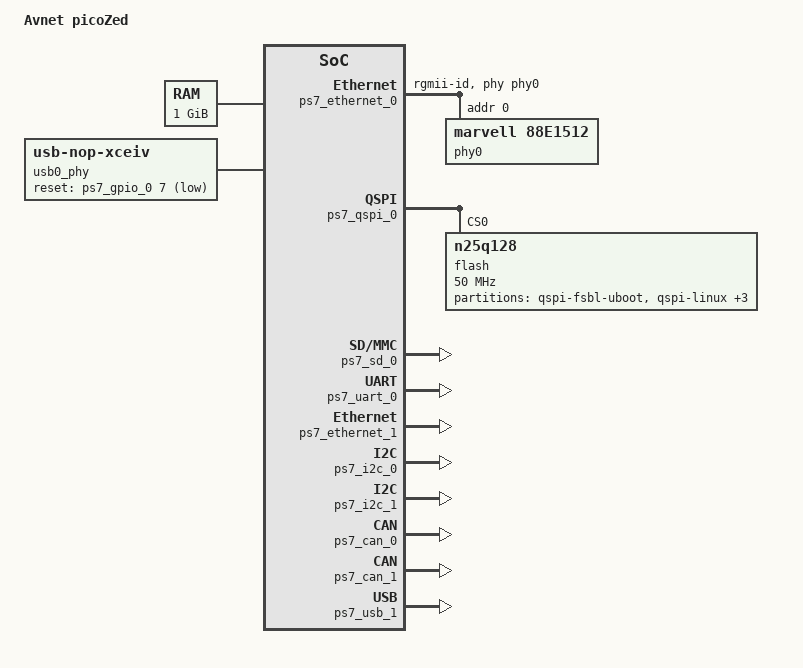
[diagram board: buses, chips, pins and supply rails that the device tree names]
/ {
	model = "Avnet picoZed";
	chosen {
		bootargs = "console=ttyPS0,115200 earlyprintk root=/dev/ram rw";
		linux,stdout-path = "/axi@0/serial@e0001000";
	} ;
	ps7_ddr_0: memory@0 {
		device_type = "memory";
		reg = <0x0 0x40000000>;
	} ;
	ps7_axi_interconnect_0: amba@0 {
		ps7_ethernet_0: ps7-ethernet@e000b000 {
			phy-handle = <&phy0>;
			phy-mode = "rgmii-id";
			phy0: phy@0 {
				compatible = "marvell,88e1512";
				device_type = "ethernet-phy";
				reg = <0>;
			} ;
		} ;
		ps7_qspi_0: ps7-qspi@e000d000 {
			flash@0 {
				compatible = "n25q128";
				reg = <0x0>;
				spi-max-frequency = <50000000>;
				#address-cells = <1>;
				#size-cells = <1>;
				partition@qspi-fsbl-uboot {
					label = "qspi-fsbl-uboot";
					reg = <0x0 0x100000>;
				};
				partition@qspi-linux {
					label = "qspi-linux";
					reg = <0x100000 0x500000>;
				};
				partition@qspi-device-tree {
					label = "qspi-device-tree";
					reg = <0x600000 0x20000>;
				};
				partition@qspi-rootfs {
					label = "qspi-rootfs";
					reg = <0x620000 0x5E0000>;
				};
				partition@qspi-bitstream {
					label = "qspi-bitstream";
					reg = <0xC00000 0x400000>;
				};
			};
		} ;
		ps7_usb_0: ps7-usb@e0002000 {
			xlnx,phy-reset-gpio = <&ps7_gpio_0 7 0>; /* MIO USB PHY Reset */
			usb-phy = <&usb0_phy>;
		} ;
		ps7_sd_1: ps7-sdio@e0101000 {
			/* The SD1 interface is connected to the non-removable eMMC */
			non-removable;
		} ;

		/* Disabled Devices */
		ps7_sd_0: ps7-sdio@e0100000 { compatible = "invalid"; };
		ps7_uart_0: serial@e0000000 { compatible = "invalid"; };
		ps7_ethernet_1: ps7-ethernet@e000c000 { compatible = "invalid"; };
		ps7_i2c_0: ps7-i2c@e0004000 { compatible = "invalid"; };
		ps7_i2c_1: ps7-i2c@e0005000 { compatible = "invalid"; };
		ps7_wdt_0: ps7-wdt@f8005000 { compatible = "invalid"; };
		ps7_can_0: ps7-can@e0008000 { compatible = "invalid"; };
		ps7_can_1: ps7-can@e0009000 { compatible = "invalid"; };
		ps7_usb_1: ps7-usb@e0003000 { compatible = "invalid"; };
	} ;

	usb0_phy: usb-phy {
		#phy-cells = <0>;
		compatible = "usb-nop-xceiv";
		reset-gpios = <&ps7_gpio_0 7 1>; /* MIO 7, GPIO_ACTIVE_LOW */
	} ;
} ;
